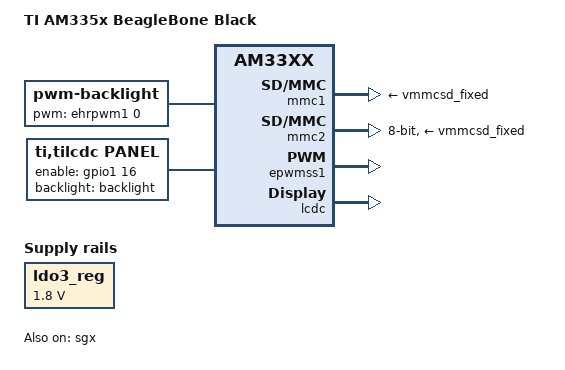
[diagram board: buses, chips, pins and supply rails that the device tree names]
/*
 * Copyright (C) 2012 Texas Instruments Incorporated - http://www.ti.com/
 *
 * This program is free software; you can redistribute it and/or modify
 * it under the terms of the GNU General Public License version 2 as
 * published by the Free Software Foundation.
 */
/dts-v1/;

#include "am33xx.dtsi"
#include "am335x-bone-common.dtsi"

/ {
	model = "TI AM335x BeagleBone Black";
	compatible = "ti,am335x-bone-black", "ti,am335x-bone", "ti,am33xx";

	chosen {
		tick-timer = &timer2;
	};

	backlight:backlight {
			compatible      = "pwm-backlight";
			pinctrl-names   = "default";
			pinctrl-0       = <&pwm_bl_pins>;
			status = "okay";
			pwms = <&ehrpwm1 0 500000 0>;
			pwm-names = "LCD7";
			brightness-levels = <0 51 53 56 62 75 101 152 255>;
			default-brightness-level = <51>; 
	};
	panel {
		compatible = "ti,tilcdc,panel";
		pinctrl-names = "default";
		pinctrl-0 = <&lcd24_pins>;
		enable-gpios = <&gpio1 16 0>;
		backlight = <&backlight>;
		panel-info {
			ac-bias           = <255>;
			ac-bias-intrpt    = <0>;
			dma-burst-sz      = <16>;
			bpp               = <32>;
			fdd               = <0x80>;
			sync-edge         = <0>;
			sync-ctrl         = <1>;
			raster-order      = <0>;
			fifo-th           = <0>;
		};
		
		
		display-timings {
			800x480p60{
				clock-frequency = <23040000>;
				hactive = <800>;
				vactive = <480>;
				hfront-porch = <40>;
				hback-porch = <40>;
				hsync-len = <48>;
				vback-porch = <20>;
				vfront-porch = <20>;
				vsync-len = <12>;
				hsync-active = <0>;
				vsync-active = <0>;
			};
		};
		
	};
};



&ldo3_reg {
	regulator-min-microvolt = <1800000>;
	regulator-max-microvolt = <1800000>;
	regulator-always-on;
};

&mmc1 {
	vmmc-supply = <&vmmcsd_fixed>;
};

&mmc2 {
	vmmc-supply = <&vmmcsd_fixed>;
	pinctrl-names = "default";
	pinctrl-0 = <&emmc_pins>;
	bus-width = <8>;
	status = "okay";
};

&epwmss1 {
	status = "okay";

	ehrpwm1: pwm@48302200 {
        	status = "okay";
	};
};

&am33xx_pinmux {
	lcd24_pins: lcd24_pins{
		pinctrl-single,pins = <
			0x20 (PIN_OUTPUT | MUX_MODE1)	/* gpmc_ad8.lcd_data23 */
			0x24 (PIN_OUTPUT | MUX_MODE1)	/* gpmc_ad9.lcd_data22 */
			0x28 (PIN_OUTPUT | MUX_MODE1)	/* gpmc_ad10.lcd_data21 */
			0x2c (PIN_OUTPUT | MUX_MODE1)	/* gpmc_ad11.lcd_data20 */
			0x30 (PIN_OUTPUT | MUX_MODE1)	/* gpmc_ad12.lcd_data19 */
			0x34 (PIN_OUTPUT | MUX_MODE1)	/* gpmc_ad13.lcd_data18 */
			0x38 (PIN_OUTPUT | MUX_MODE1)	/* gpmc_ad14.lcd_data17 */
			0x3c (PIN_OUTPUT | MUX_MODE1)	/* gpmc_ad15.lcd_data16 */
			0xa0 (PIN_OUTPUT | MUX_MODE0)	/* lcd_data0.lcd_data0 */
			0xa4 (PIN_OUTPUT | MUX_MODE0)	/* lcd_data1.lcd_data1 */
			0xa8 (PIN_OUTPUT | MUX_MODE0)	/* lcd_data2.lcd_data2 */
			0xac (PIN_OUTPUT | MUX_MODE0)	/* lcd_data3.lcd_data3 */
			0xb0 (PIN_OUTPUT | MUX_MODE0)	/* lcd_data4.lcd_data4 */
			0xb4 (PIN_OUTPUT | MUX_MODE0)	/* lcd_data5.lcd_data5 */
			0xb8 (PIN_OUTPUT | MUX_MODE0)	/* lcd_data6.lcd_data6 */
			0xbc (PIN_OUTPUT | MUX_MODE0)	/* lcd_data7.lcd_data7 */
			0xc0 (PIN_OUTPUT | MUX_MODE0)	/* lcd_data8.lcd_data8 */
			0xc4 (PIN_OUTPUT | MUX_MODE0)	/* lcd_data9.lcd_data9 */
			0xc8 (PIN_OUTPUT | MUX_MODE0)	/* lcd_data10.lcd_data10 */
			0xcc (PIN_OUTPUT | MUX_MODE0)	/* lcd_data11.lcd_data11 */
			0xd0 (PIN_OUTPUT | MUX_MODE0)	/* lcd_data12.lcd_data12 */
			0xd4 (PIN_OUTPUT | MUX_MODE0)	/* lcd_data13.lcd_data13 */
			0xd8 (PIN_OUTPUT | MUX_MODE0)	/* lcd_data14.lcd_data14 */
			0xdc (PIN_OUTPUT | MUX_MODE0)	/* lcd_data15.lcd_data15 */
			0xe0 (PIN_OUTPUT | MUX_MODE0)	/* lcd_vsync.lcd_vsync */
			0xe4 (PIN_OUTPUT | MUX_MODE0)	/* lcd_hsync.lcd_hsync */
			0xe8 (PIN_OUTPUT | MUX_MODE0)	/* lcd_pclk.lcd_pclk */
			0xec (PIN_OUTPUT | MUX_MODE0)	/* lcd_ac_bias_en.lcd_ac_bias_en */
			>;
	};
	pwm_bl_pins: pinmux_pwm_bl_pins {
		pinctrl-single,pins = <
			0x48 0x06       /* gpmc_a2.ehrpwm1a, OMAP_MUX_MODE6 | AM33XX_PIN_OUTPUT */
		>;
	};
	lcd_pwr_pins: lcd_pwr_pins {
		pinctrl-single,pins = <
			0x40 ( PIN_OUTPUT | MUX_MODE7 ) /* (R13) gpmc_a0.gpio1[16] */
		>;
	};
};


&sgx {
    status = "okay";
};


&lcdc {
        status = "okay";
 };

&rtc {
	system-power-controller;
};


